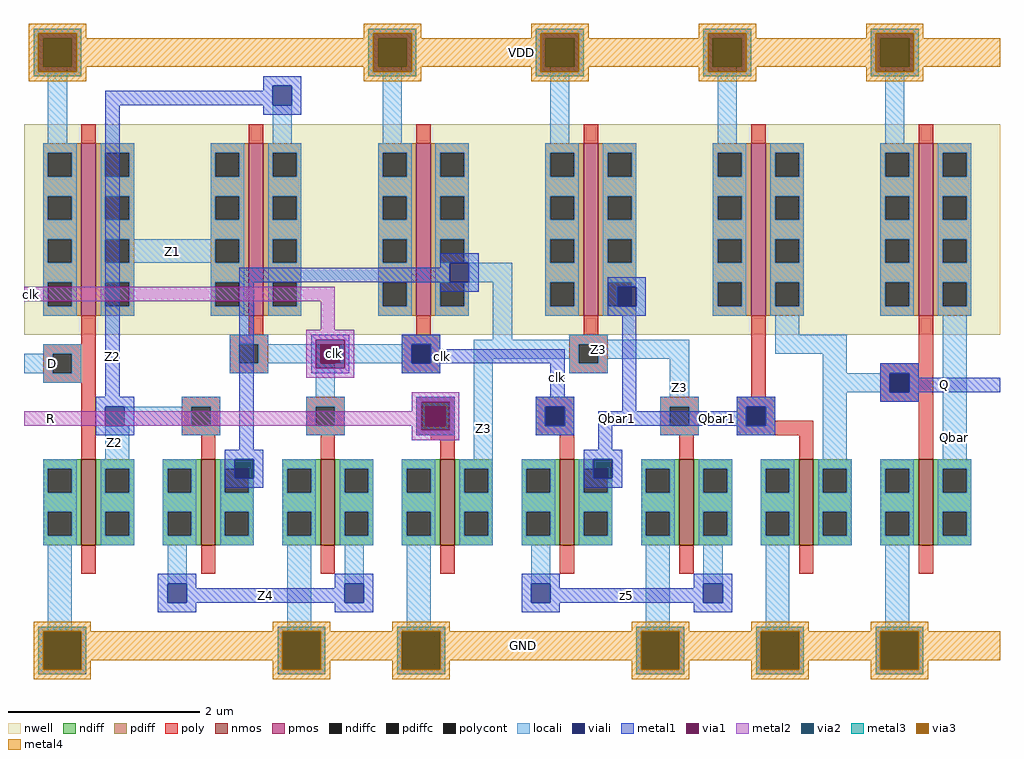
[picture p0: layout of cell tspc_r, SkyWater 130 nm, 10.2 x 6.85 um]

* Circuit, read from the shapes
.subckt tspc_r D GND Q Qbar Qbar1 R VDD Z1 Z2 Z3 Z4 clk z5
XM1 Z2 D GND VSUBS sky130_fd_pr__nfet_01v8 w=0.9 l=0.15
XM2 Z3 Z2 Z4 VSUBS sky130_fd_pr__nfet_01v8 w=0.9 l=0.15
XM3 Z4 clk GND VSUBS sky130_fd_pr__nfet_01v8 w=0.9 l=0.15
XM4 Z3 R GND VSUBS sky130_fd_pr__nfet_01v8 w=0.9 l=0.15
XM5 Qbar1 clk z5 VSUBS sky130_fd_pr__nfet_01v8 w=0.9 l=0.15
XM6 z5 Z3 GND VSUBS sky130_fd_pr__nfet_01v8 w=0.9 l=0.15
XM7 Q Qbar1 GND VSUBS sky130_fd_pr__nfet_01v8 w=0.9 l=0.15
XM8 Qbar Q GND VSUBS sky130_fd_pr__nfet_01v8 w=0.9 l=0.15
XM9 Z1 D VDD n1 sky130_fd_pr__pfet_01v8 w=1.8 l=0.15
XM10 Z2 clk Z1 n1 sky130_fd_pr__pfet_01v8 w=1.8 l=0.15
XM11 Z3 clk VDD n1 sky130_fd_pr__pfet_01v8 w=1.8 l=0.15
XM12 Qbar1 Z3 VDD n1 sky130_fd_pr__pfet_01v8 w=1.8 l=0.15
XM13 Q Qbar1 VDD n1 sky130_fd_pr__pfet_01v8 w=1.8 l=0.15
XM14 Qbar Q VDD n1 sky130_fd_pr__pfet_01v8 w=1.8 l=0.15
.ends

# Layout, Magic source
magic
tech sky130A
<< nwell >>
rect -145 -20 875 200
<< nmos >>
rect -85 -240 -70 -150
rect 40 -240 55 -150
rect 165 -240 180 -150
rect 290 -240 305 -150
rect 415 -240 430 -150
rect 540 -240 555 -150
rect 665 -240 680 -150
rect 790 -240 805 -150
<< pmos >>
rect -85 0 -70 180
rect 90 0 105 180
rect 265 0 280 180
rect 440 0 455 180
rect 615 0 630 180
rect 790 0 805 180
<< ndiff >>
rect -125 -160 -85 -150
rect -125 -185 -120 -160
rect -95 -185 -85 -160
rect -125 -205 -85 -185
rect -125 -230 -120 -205
rect -95 -230 -85 -205
rect -125 -240 -85 -230
rect -70 -160 -30 -150
rect -70 -185 -60 -160
rect -35 -185 -30 -160
rect -70 -205 -30 -185
rect -70 -230 -60 -205
rect -35 -230 -30 -205
rect -70 -240 -30 -230
rect 0 -160 40 -150
rect 0 -185 5 -160
rect 30 -185 40 -160
rect 0 -205 40 -185
rect 0 -230 5 -205
rect 30 -230 40 -205
rect 0 -240 40 -230
rect 55 -160 95 -150
rect 55 -185 65 -160
rect 90 -185 95 -160
rect 55 -205 95 -185
rect 55 -230 65 -205
rect 90 -230 95 -205
rect 55 -240 95 -230
rect 125 -160 165 -150
rect 125 -185 130 -160
rect 155 -185 165 -160
rect 125 -205 165 -185
rect 125 -230 130 -205
rect 155 -230 165 -205
rect 125 -240 165 -230
rect 180 -160 220 -150
rect 180 -185 190 -160
rect 215 -185 220 -160
rect 180 -205 220 -185
rect 180 -230 190 -205
rect 215 -230 220 -205
rect 180 -240 220 -230
rect 250 -160 290 -150
rect 250 -185 255 -160
rect 280 -185 290 -160
rect 250 -205 290 -185
rect 250 -230 255 -205
rect 280 -230 290 -205
rect 250 -240 290 -230
rect 305 -160 345 -150
rect 305 -185 315 -160
rect 340 -185 345 -160
rect 305 -205 345 -185
rect 305 -230 315 -205
rect 340 -230 345 -205
rect 305 -240 345 -230
rect 375 -160 415 -150
rect 375 -185 380 -160
rect 405 -185 415 -160
rect 375 -205 415 -185
rect 375 -230 380 -205
rect 405 -230 415 -205
rect 375 -240 415 -230
rect 430 -160 470 -150
rect 430 -185 440 -160
rect 465 -185 470 -160
rect 430 -205 470 -185
rect 430 -230 440 -205
rect 465 -230 470 -205
rect 430 -240 470 -230
rect 500 -160 540 -150
rect 500 -185 505 -160
rect 530 -185 540 -160
rect 500 -205 540 -185
rect 500 -230 505 -205
rect 530 -230 540 -205
rect 500 -240 540 -230
rect 555 -160 595 -150
rect 555 -185 565 -160
rect 590 -185 595 -160
rect 555 -205 595 -185
rect 555 -230 565 -205
rect 590 -230 595 -205
rect 555 -240 595 -230
rect 625 -160 665 -150
rect 625 -185 630 -160
rect 655 -185 665 -160
rect 625 -205 665 -185
rect 625 -230 630 -205
rect 655 -230 665 -205
rect 625 -240 665 -230
rect 680 -160 720 -150
rect 680 -185 690 -160
rect 715 -185 720 -160
rect 680 -205 720 -185
rect 680 -230 690 -205
rect 715 -230 720 -205
rect 680 -240 720 -230
rect 750 -160 790 -150
rect 750 -185 755 -160
rect 780 -185 790 -160
rect 750 -205 790 -185
rect 750 -230 755 -205
rect 780 -230 790 -205
rect 750 -240 790 -230
rect 805 -160 845 -150
rect 805 -185 815 -160
rect 840 -185 845 -160
rect 805 -205 845 -185
rect 805 -230 815 -205
rect 840 -230 845 -205
rect 805 -240 845 -230
<< pdiff >>
rect -125 170 -85 180
rect -125 145 -120 170
rect -95 145 -85 170
rect -125 125 -85 145
rect -125 100 -120 125
rect -95 100 -85 125
rect -125 80 -85 100
rect -125 55 -120 80
rect -95 55 -85 80
rect -125 35 -85 55
rect -125 10 -120 35
rect -95 10 -85 35
rect -125 0 -85 10
rect -70 170 -30 180
rect -70 145 -60 170
rect -35 145 -30 170
rect -70 125 -30 145
rect -70 100 -60 125
rect -35 100 -30 125
rect -70 80 -30 100
rect -70 55 -60 80
rect -35 55 -30 80
rect -70 35 -30 55
rect -70 10 -60 35
rect -35 10 -30 35
rect -70 0 -30 10
rect 50 170 90 180
rect 50 145 55 170
rect 80 145 90 170
rect 50 125 90 145
rect 50 100 55 125
rect 80 100 90 125
rect 50 80 90 100
rect 50 55 55 80
rect 80 55 90 80
rect 50 35 90 55
rect 50 10 55 35
rect 80 10 90 35
rect 50 0 90 10
rect 105 170 145 180
rect 105 145 115 170
rect 140 145 145 170
rect 105 125 145 145
rect 105 100 115 125
rect 140 100 145 125
rect 105 80 145 100
rect 105 55 115 80
rect 140 55 145 80
rect 105 35 145 55
rect 105 10 115 35
rect 140 10 145 35
rect 105 0 145 10
rect 225 170 265 180
rect 225 145 230 170
rect 255 145 265 170
rect 225 125 265 145
rect 225 100 230 125
rect 255 100 265 125
rect 225 80 265 100
rect 225 55 230 80
rect 255 55 265 80
rect 225 35 265 55
rect 225 10 230 35
rect 255 10 265 35
rect 225 0 265 10
rect 280 170 320 180
rect 280 145 290 170
rect 315 145 320 170
rect 280 125 320 145
rect 280 100 290 125
rect 315 100 320 125
rect 280 80 320 100
rect 280 55 290 80
rect 315 55 320 80
rect 280 35 320 55
rect 280 10 290 35
rect 315 10 320 35
rect 280 0 320 10
rect 400 170 440 180
rect 400 145 405 170
rect 430 145 440 170
rect 400 125 440 145
rect 400 100 405 125
rect 430 100 440 125
rect 400 80 440 100
rect 400 55 405 80
rect 430 55 440 80
rect 400 35 440 55
rect 400 10 405 35
rect 430 10 440 35
rect 400 0 440 10
rect 455 170 495 180
rect 455 145 465 170
rect 490 145 495 170
rect 455 125 495 145
rect 455 100 465 125
rect 490 100 495 125
rect 455 80 495 100
rect 455 55 465 80
rect 490 55 495 80
rect 455 35 495 55
rect 455 10 465 35
rect 490 10 495 35
rect 455 0 495 10
rect 575 170 615 180
rect 575 145 580 170
rect 605 145 615 170
rect 575 125 615 145
rect 575 100 580 125
rect 605 100 615 125
rect 575 80 615 100
rect 575 55 580 80
rect 605 55 615 80
rect 575 35 615 55
rect 575 10 580 35
rect 605 10 615 35
rect 575 0 615 10
rect 630 170 670 180
rect 630 145 640 170
rect 665 145 670 170
rect 630 125 670 145
rect 630 100 640 125
rect 665 100 670 125
rect 630 80 670 100
rect 630 55 640 80
rect 665 55 670 80
rect 630 35 670 55
rect 630 10 640 35
rect 665 10 670 35
rect 630 0 670 10
rect 750 170 790 180
rect 750 145 755 170
rect 780 145 790 170
rect 750 125 790 145
rect 750 100 755 125
rect 780 100 790 125
rect 750 80 790 100
rect 750 55 755 80
rect 780 55 790 80
rect 750 35 790 55
rect 750 10 755 35
rect 780 10 790 35
rect 750 0 790 10
rect 805 170 845 180
rect 805 145 815 170
rect 840 145 845 170
rect 805 125 845 145
rect 805 100 815 125
rect 840 100 845 125
rect 805 80 845 100
rect 805 55 815 80
rect 840 55 845 80
rect 805 35 845 55
rect 805 10 815 35
rect 840 10 845 35
rect 805 0 845 10
<< ndiffc >>
rect -120 -185 -95 -160
rect -120 -230 -95 -205
rect -60 -185 -35 -160
rect -60 -230 -35 -205
rect 5 -185 30 -160
rect 5 -230 30 -205
rect 65 -185 90 -160
rect 65 -230 90 -205
rect 130 -185 155 -160
rect 130 -230 155 -205
rect 190 -185 215 -160
rect 190 -230 215 -205
rect 255 -185 280 -160
rect 255 -230 280 -205
rect 315 -185 340 -160
rect 315 -230 340 -205
rect 380 -185 405 -160
rect 380 -230 405 -205
rect 440 -185 465 -160
rect 440 -230 465 -205
rect 505 -185 530 -160
rect 505 -230 530 -205
rect 565 -185 590 -160
rect 565 -230 590 -205
rect 630 -185 655 -160
rect 630 -230 655 -205
rect 690 -185 715 -160
rect 690 -230 715 -205
rect 755 -185 780 -160
rect 755 -230 780 -205
rect 815 -185 840 -160
rect 815 -230 840 -205
<< pdiffc >>
rect -120 145 -95 170
rect -120 100 -95 125
rect -120 55 -95 80
rect -120 10 -95 35
rect -60 145 -35 170
rect -60 100 -35 125
rect -60 55 -35 80
rect -60 10 -35 35
rect 55 145 80 170
rect 55 100 80 125
rect 55 55 80 80
rect 55 10 80 35
rect 115 145 140 170
rect 115 100 140 125
rect 115 55 140 80
rect 115 10 140 35
rect 230 145 255 170
rect 230 100 255 125
rect 230 55 255 80
rect 230 10 255 35
rect 290 145 315 170
rect 290 100 315 125
rect 290 55 315 80
rect 290 10 315 35
rect 405 145 430 170
rect 405 100 430 125
rect 405 55 430 80
rect 405 10 430 35
rect 465 145 490 170
rect 465 100 490 125
rect 465 55 490 80
rect 465 10 490 35
rect 580 145 605 170
rect 580 100 605 125
rect 580 55 605 80
rect 580 10 605 35
rect 640 145 665 170
rect 640 100 665 125
rect 640 55 665 80
rect 640 10 665 35
rect 755 145 780 170
rect 755 100 780 125
rect 755 55 780 80
rect 755 10 780 35
rect 815 145 840 170
rect 815 100 840 125
rect 815 55 840 80
rect 815 10 840 35
<< poly >>
rect -85 180 -70 200
rect 90 180 105 200
rect 265 180 280 200
rect 440 180 455 200
rect 615 180 630 200
rect 790 180 805 200
rect -85 -30 -70 0
rect 90 -20 105 0
rect 265 -20 280 0
rect 440 -20 455 0
rect -125 -40 -70 -30
rect -125 -60 -115 -40
rect -95 -60 -70 -40
rect 70 -30 110 -20
rect 70 -50 80 -30
rect 100 -50 110 -30
rect 70 -60 110 -50
rect 250 -30 290 -20
rect 250 -50 260 -30
rect 280 -50 290 -30
rect 250 -60 290 -50
rect 425 -30 465 -20
rect 425 -50 435 -30
rect 455 -50 465 -30
rect 425 -60 465 -50
rect -125 -70 -70 -60
rect -85 -150 -70 -70
rect 615 -85 630 0
rect 790 -50 805 0
rect 750 -60 805 -50
rect 750 -80 760 -60
rect 780 -80 805 -60
rect 20 -95 60 -85
rect 20 -115 30 -95
rect 50 -115 60 -95
rect 20 -125 60 -115
rect 150 -95 190 -85
rect 150 -115 160 -95
rect 180 -115 190 -95
rect 150 -125 190 -115
rect 265 -95 305 -85
rect 265 -115 275 -95
rect 295 -115 305 -95
rect 265 -125 305 -115
rect 390 -95 430 -85
rect 390 -115 400 -95
rect 420 -115 430 -95
rect 390 -125 430 -115
rect 520 -95 560 -85
rect 520 -115 530 -95
rect 550 -115 560 -95
rect 520 -125 560 -115
rect 600 -95 640 -85
rect 750 -90 805 -80
rect 600 -115 610 -95
rect 630 -110 640 -95
rect 630 -115 680 -110
rect 600 -125 680 -115
rect 40 -150 55 -125
rect 165 -150 180 -125
rect 280 -130 305 -125
rect 290 -150 305 -130
rect 415 -150 430 -125
rect 540 -150 555 -125
rect 665 -150 680 -125
rect 790 -150 805 -90
rect -85 -270 -70 -240
rect 40 -270 55 -240
rect 165 -270 180 -240
rect 290 -270 305 -240
rect 415 -270 430 -240
rect 540 -270 555 -240
rect 665 -270 680 -240
rect 790 -270 805 -240
<< polycont >>
rect -115 -60 -95 -40
rect 80 -50 100 -30
rect 260 -50 280 -30
rect 435 -50 455 -30
rect 760 -80 780 -60
rect 30 -115 50 -95
rect 160 -115 180 -95
rect 275 -115 295 -95
rect 400 -115 420 -95
rect 530 -115 550 -95
rect 610 -115 630 -95
<< locali >>
rect -120 180 -100 265
rect 115 180 135 220
rect 230 180 250 265
rect 405 180 425 265
rect 580 180 600 265
rect 755 180 775 265
rect -125 170 -90 180
rect -125 145 -120 170
rect -95 145 -90 170
rect -125 125 -90 145
rect -125 100 -120 125
rect -95 100 -90 125
rect -125 80 -90 100
rect -125 55 -120 80
rect -95 55 -90 80
rect -125 35 -90 55
rect -125 10 -120 35
rect -95 10 -90 35
rect -125 0 -90 10
rect -65 170 -30 180
rect -65 145 -60 170
rect -35 145 -30 170
rect -65 125 -30 145
rect -65 100 -60 125
rect -35 100 -30 125
rect -65 80 -30 100
rect 50 170 85 180
rect 50 145 55 170
rect 80 145 85 170
rect 50 125 85 145
rect 50 100 55 125
rect 80 100 85 125
rect 50 80 85 100
rect -65 55 -60 80
rect -35 55 55 80
rect 80 55 85 80
rect -65 35 -30 55
rect -65 10 -60 35
rect -35 10 -30 35
rect -65 0 -30 10
rect 50 35 85 55
rect 50 10 55 35
rect 80 10 85 35
rect 50 0 85 10
rect 110 170 145 180
rect 110 145 115 170
rect 140 145 145 170
rect 110 125 145 145
rect 110 100 115 125
rect 140 100 145 125
rect 110 80 145 100
rect 110 55 115 80
rect 140 55 145 80
rect 110 35 145 55
rect 110 10 115 35
rect 140 10 145 35
rect 110 0 145 10
rect 225 170 260 180
rect 225 145 230 170
rect 255 145 260 170
rect 225 125 260 145
rect 225 100 230 125
rect 255 100 260 125
rect 225 80 260 100
rect 225 55 230 80
rect 255 55 260 80
rect 225 35 260 55
rect 225 10 230 35
rect 255 10 260 35
rect 225 0 260 10
rect 285 170 320 180
rect 285 145 290 170
rect 315 145 320 170
rect 285 125 320 145
rect 285 100 290 125
rect 315 100 320 125
rect 285 80 320 100
rect 285 55 290 80
rect 315 55 320 80
rect 400 170 435 180
rect 400 145 405 170
rect 430 145 435 170
rect 400 125 435 145
rect 400 100 405 125
rect 430 100 435 125
rect 400 80 435 100
rect 400 55 405 80
rect 430 55 435 80
rect 285 35 300 55
rect 320 35 365 55
rect 285 10 290 35
rect 315 10 320 35
rect 285 0 320 10
rect 70 -30 110 -20
rect 250 -30 290 -20
rect 345 -25 365 35
rect 400 35 435 55
rect 400 10 405 35
rect 430 10 435 35
rect 400 0 435 10
rect 460 170 495 180
rect 460 145 465 170
rect 490 145 495 170
rect 460 125 495 145
rect 460 100 465 125
rect 490 100 495 125
rect 460 80 495 100
rect 460 55 465 80
rect 490 55 495 80
rect 460 35 495 55
rect 460 10 465 35
rect 490 30 495 35
rect 460 0 495 10
rect 575 170 610 180
rect 575 145 580 170
rect 605 145 610 170
rect 575 125 610 145
rect 575 100 580 125
rect 605 100 610 125
rect 575 80 610 100
rect 575 55 580 80
rect 605 55 610 80
rect 575 35 610 55
rect 575 10 580 35
rect 605 10 610 35
rect 575 0 610 10
rect 635 170 670 180
rect 635 145 640 170
rect 665 145 670 170
rect 635 125 670 145
rect 635 100 640 125
rect 665 100 670 125
rect 635 80 670 100
rect 635 55 640 80
rect 665 55 670 80
rect 635 35 670 55
rect 635 10 640 35
rect 665 10 670 35
rect 635 0 670 10
rect 750 170 785 180
rect 750 145 755 170
rect 780 145 785 170
rect 750 125 785 145
rect 750 100 755 125
rect 780 100 785 125
rect 750 80 785 100
rect 750 55 755 80
rect 780 55 785 80
rect 750 35 785 55
rect 750 10 755 35
rect 780 10 785 35
rect 750 0 785 10
rect 810 170 845 180
rect 810 145 815 170
rect 840 145 845 170
rect 810 125 845 145
rect 810 100 815 125
rect 840 100 845 125
rect 810 80 845 100
rect 810 55 815 80
rect 840 55 845 80
rect 810 35 845 55
rect 810 10 815 35
rect 840 10 845 35
rect 810 0 845 10
rect 640 -20 665 0
rect 425 -25 465 -20
rect -125 -40 -85 -30
rect -145 -60 -115 -40
rect -95 -60 -85 -40
rect 70 -50 80 -30
rect 100 -50 165 -30
rect 185 -50 260 -30
rect 280 -50 290 -30
rect 70 -60 110 -50
rect -125 -70 -85 -60
rect 160 -85 180 -50
rect 250 -60 290 -50
rect 325 -30 550 -25
rect 325 -45 435 -30
rect 20 -95 60 -85
rect -40 -115 30 -95
rect 50 -115 60 -95
rect -60 -150 -35 -115
rect 20 -125 60 -115
rect 150 -95 190 -85
rect 150 -115 160 -95
rect 180 -115 190 -95
rect 150 -125 190 -115
rect 265 -95 305 -85
rect 265 -115 275 -95
rect 295 -115 305 -95
rect 265 -125 305 -115
rect 325 -150 345 -45
rect 425 -50 435 -45
rect 455 -45 550 -30
rect 640 -40 715 -20
rect 455 -50 465 -45
rect 425 -60 465 -50
rect 530 -85 550 -45
rect 690 -60 715 -40
rect 750 -60 790 -50
rect 690 -80 760 -60
rect 780 -80 790 -60
rect 390 -95 430 -85
rect 390 -115 400 -95
rect 420 -115 430 -95
rect 390 -125 430 -115
rect 520 -95 560 -85
rect 520 -115 530 -95
rect 550 -115 560 -95
rect 520 -125 560 -115
rect 600 -95 640 -85
rect 600 -115 610 -95
rect 630 -115 640 -95
rect 600 -125 640 -115
rect 690 -150 715 -80
rect 750 -90 790 -80
rect 815 -150 840 0
rect -125 -160 -90 -150
rect -125 -185 -120 -160
rect -95 -185 -90 -160
rect -125 -205 -90 -185
rect -125 -230 -120 -205
rect -95 -230 -90 -205
rect -125 -240 -90 -230
rect -65 -160 -30 -150
rect -65 -185 -60 -160
rect -35 -185 -30 -160
rect -65 -205 -30 -185
rect -65 -230 -60 -205
rect -35 -230 -30 -205
rect -65 -240 -30 -230
rect 0 -160 35 -150
rect 0 -185 5 -160
rect 30 -185 35 -160
rect 0 -205 35 -185
rect 0 -230 5 -205
rect 30 -230 35 -205
rect 0 -240 35 -230
rect 60 -160 75 -150
rect 60 -185 65 -160
rect 90 -185 95 -170
rect 60 -205 95 -185
rect 60 -230 65 -205
rect 90 -230 95 -205
rect 60 -240 95 -230
rect 125 -160 160 -150
rect 125 -185 130 -160
rect 155 -185 160 -160
rect 125 -205 160 -185
rect 125 -230 130 -205
rect 155 -230 160 -205
rect 125 -240 160 -230
rect 185 -160 220 -150
rect 185 -185 190 -160
rect 215 -185 220 -160
rect 185 -205 220 -185
rect 185 -230 190 -205
rect 215 -230 220 -205
rect 185 -240 220 -230
rect 250 -160 285 -150
rect 250 -185 255 -160
rect 280 -185 285 -160
rect 250 -205 285 -185
rect 250 -230 255 -205
rect 280 -230 285 -205
rect 250 -240 285 -230
rect 310 -160 345 -150
rect 310 -185 315 -160
rect 340 -185 345 -160
rect 310 -205 345 -185
rect 310 -230 315 -205
rect 340 -230 345 -205
rect 310 -240 345 -230
rect 375 -160 410 -150
rect 375 -185 380 -160
rect 405 -185 410 -160
rect 375 -205 410 -185
rect 375 -230 380 -205
rect 405 -230 410 -205
rect 375 -240 410 -230
rect 435 -160 450 -150
rect 435 -185 440 -160
rect 465 -185 470 -170
rect 435 -205 470 -185
rect 435 -230 440 -205
rect 465 -230 470 -205
rect 435 -240 470 -230
rect 500 -160 535 -150
rect 500 -185 505 -160
rect 530 -185 535 -160
rect 500 -205 535 -185
rect 500 -230 505 -205
rect 530 -230 535 -205
rect 500 -240 535 -230
rect 560 -160 595 -150
rect 560 -185 565 -160
rect 590 -185 595 -160
rect 560 -205 595 -185
rect 560 -230 565 -205
rect 590 -230 595 -205
rect 560 -240 595 -230
rect 625 -160 660 -150
rect 625 -185 630 -160
rect 655 -185 660 -160
rect 625 -205 660 -185
rect 625 -230 630 -205
rect 655 -230 660 -205
rect 625 -240 660 -230
rect 685 -160 720 -150
rect 685 -185 690 -160
rect 715 -185 720 -160
rect 685 -205 720 -185
rect 685 -230 690 -205
rect 715 -230 720 -205
rect 685 -240 720 -230
rect 750 -160 785 -150
rect 750 -185 755 -160
rect 780 -185 785 -160
rect 750 -205 785 -185
rect 750 -230 755 -205
rect 780 -230 785 -205
rect 750 -240 785 -230
rect 810 -160 845 -150
rect 810 -185 815 -160
rect 840 -185 845 -160
rect 810 -205 845 -185
rect 810 -230 815 -205
rect 840 -230 845 -205
rect 810 -240 845 -230
rect -120 -340 -95 -240
rect 5 -280 25 -240
rect -120 -345 -115 -340
rect 130 -340 155 -240
rect 190 -280 210 -240
rect 130 -345 135 -340
rect 255 -340 280 -240
rect 385 -280 405 -240
rect 255 -345 260 -340
rect 505 -340 530 -240
rect 565 -280 585 -240
rect 505 -345 510 -340
rect 630 -340 655 -240
rect 630 -345 635 -340
rect 755 -340 780 -240
rect 755 -345 760 -340
<< viali >>
rect -120 265 -100 285
rect 230 265 250 285
rect 115 220 135 240
rect 405 265 425 285
rect 580 265 600 285
rect 755 265 775 285
rect 300 35 320 55
rect 475 10 490 30
rect 490 10 495 30
rect 165 -50 185 -30
rect 260 -50 280 -30
rect -60 -115 -40 -95
rect 275 -115 295 -95
rect 760 -80 780 -60
rect 400 -115 420 -95
rect 610 -115 630 -95
rect 75 -160 95 -150
rect 75 -170 90 -160
rect 90 -170 95 -160
rect 450 -160 470 -150
rect 450 -170 465 -160
rect 465 -170 470 -160
rect 5 -300 25 -280
rect -115 -360 -95 -340
rect 190 -300 210 -280
rect 135 -360 155 -340
rect 385 -300 405 -280
rect 260 -360 280 -340
rect 565 -300 585 -280
rect 510 -360 530 -340
rect 635 -360 655 -340
rect 760 -360 780 -340
<< metal1 >>
rect -130 290 -90 295
rect -130 260 -125 290
rect -95 260 -90 290
rect -130 255 -90 260
rect 220 290 260 295
rect 220 260 225 290
rect 255 260 260 290
rect 220 255 260 260
rect 395 290 435 295
rect 395 260 400 290
rect 430 260 435 290
rect 395 255 435 260
rect 570 290 610 295
rect 570 260 575 290
rect 605 260 610 290
rect 570 255 610 260
rect 745 290 785 295
rect 745 260 750 290
rect 780 260 785 290
rect 745 255 785 260
rect 105 240 145 250
rect 105 235 115 240
rect -60 220 115 235
rect 135 220 145 240
rect -60 -85 -45 220
rect 105 210 145 220
rect 290 55 330 65
rect 290 50 300 55
rect 80 35 300 50
rect 320 35 330 55
rect -70 -95 -30 -85
rect -70 -115 -60 -95
rect -40 -115 -30 -95
rect -70 -125 -30 -115
rect 80 -140 95 35
rect 290 25 330 35
rect 465 30 505 40
rect 465 10 475 30
rect 495 10 505 30
rect 465 0 505 10
rect 155 -25 195 -20
rect 155 -55 160 -25
rect 190 -55 195 -25
rect 155 -60 195 -55
rect 250 -30 290 -20
rect 250 -50 260 -30
rect 280 -35 290 -30
rect 280 -50 420 -35
rect 250 -60 290 -50
rect 405 -85 420 -50
rect 265 -90 305 -85
rect 265 -120 270 -90
rect 300 -120 305 -90
rect 265 -125 305 -120
rect 390 -95 430 -85
rect 390 -115 400 -95
rect 420 -115 430 -95
rect 480 -100 495 0
rect 750 -60 790 -50
rect 750 -80 760 -60
rect 780 -65 790 -60
rect 780 -80 875 -65
rect 600 -95 640 -85
rect 750 -90 790 -80
rect 600 -100 610 -95
rect 390 -125 430 -115
rect 455 -115 610 -100
rect 630 -115 640 -95
rect 455 -140 470 -115
rect 600 -125 640 -115
rect 65 -150 105 -140
rect 65 -170 75 -150
rect 95 -170 105 -150
rect 65 -180 105 -170
rect 440 -150 480 -140
rect 440 -170 450 -150
rect 470 -170 480 -150
rect 440 -180 480 -170
rect -5 -280 35 -270
rect -5 -300 5 -280
rect 25 -285 35 -280
rect 180 -280 220 -270
rect 180 -285 190 -280
rect 25 -300 190 -285
rect 210 -300 220 -280
rect -5 -310 35 -300
rect 180 -310 220 -300
rect 375 -280 415 -270
rect 375 -300 385 -280
rect 405 -285 415 -280
rect 555 -280 595 -270
rect 555 -285 565 -280
rect 405 -300 565 -285
rect 585 -300 595 -280
rect 375 -310 415 -300
rect 555 -310 595 -300
rect -125 -335 -85 -330
rect -125 -365 -120 -335
rect -90 -365 -85 -335
rect -125 -370 -85 -365
rect 125 -335 165 -330
rect 125 -365 130 -335
rect 160 -365 165 -335
rect 125 -370 165 -365
rect 250 -335 290 -330
rect 250 -365 255 -335
rect 285 -365 290 -335
rect 250 -370 290 -365
rect 500 -335 540 -330
rect 500 -365 505 -335
rect 535 -365 540 -335
rect 500 -370 540 -365
rect 625 -335 665 -330
rect 625 -365 630 -335
rect 660 -365 665 -335
rect 625 -370 665 -365
rect 750 -335 790 -330
rect 750 -365 755 -335
rect 785 -365 790 -335
rect 750 -370 790 -365
<< via1 >>
rect -125 285 -95 290
rect -125 265 -120 285
rect -120 265 -100 285
rect -100 265 -95 285
rect -125 260 -95 265
rect 225 285 255 290
rect 225 265 230 285
rect 230 265 250 285
rect 250 265 255 285
rect 225 260 255 265
rect 400 285 430 290
rect 400 265 405 285
rect 405 265 425 285
rect 425 265 430 285
rect 400 260 430 265
rect 575 285 605 290
rect 575 265 580 285
rect 580 265 600 285
rect 600 265 605 285
rect 575 260 605 265
rect 750 285 780 290
rect 750 265 755 285
rect 755 265 775 285
rect 775 265 780 285
rect 750 260 780 265
rect 160 -30 190 -25
rect 160 -50 165 -30
rect 165 -50 185 -30
rect 185 -50 190 -30
rect 160 -55 190 -50
rect 270 -95 300 -90
rect 270 -115 275 -95
rect 275 -115 295 -95
rect 295 -115 300 -95
rect 270 -120 300 -115
rect -120 -340 -90 -335
rect -120 -360 -115 -340
rect -115 -360 -95 -340
rect -95 -360 -90 -340
rect -120 -365 -90 -360
rect 130 -340 160 -335
rect 130 -360 135 -340
rect 135 -360 155 -340
rect 155 -360 160 -340
rect 130 -365 160 -360
rect 255 -340 285 -335
rect 255 -360 260 -340
rect 260 -360 280 -340
rect 280 -360 285 -340
rect 255 -365 285 -360
rect 505 -340 535 -335
rect 505 -360 510 -340
rect 510 -360 530 -340
rect 530 -360 535 -340
rect 505 -365 535 -360
rect 630 -340 660 -335
rect 630 -360 635 -340
rect 635 -360 655 -340
rect 655 -360 660 -340
rect 630 -365 660 -360
rect 755 -340 785 -335
rect 755 -360 760 -340
rect 760 -360 780 -340
rect 780 -360 785 -340
rect 755 -365 785 -360
<< metal2 >>
rect -135 290 -85 300
rect -135 260 -125 290
rect -95 260 -85 290
rect -135 250 -85 260
rect 215 290 265 300
rect 215 260 225 290
rect 255 260 265 290
rect 215 250 265 260
rect 390 290 440 300
rect 390 260 400 290
rect 430 260 440 290
rect 390 250 440 260
rect 565 290 615 300
rect 565 260 575 290
rect 605 260 615 290
rect 565 250 615 260
rect 740 290 790 300
rect 740 260 750 290
rect 780 260 790 290
rect 740 250 790 260
rect -145 15 180 30
rect 165 -15 180 15
rect 150 -25 200 -15
rect 150 -55 160 -25
rect 190 -55 200 -25
rect 150 -65 200 -55
rect 260 -90 310 -80
rect 260 -100 270 -90
rect -145 -115 270 -100
rect 260 -120 270 -115
rect 300 -120 310 -90
rect 260 -130 310 -120
rect -130 -330 -80 -325
rect -130 -370 -125 -330
rect -85 -370 -80 -330
rect -130 -375 -80 -370
rect 120 -330 170 -325
rect 120 -370 125 -330
rect 165 -370 170 -330
rect 120 -375 170 -370
rect 245 -330 295 -325
rect 245 -370 250 -330
rect 290 -370 295 -330
rect 245 -375 295 -370
rect 495 -330 545 -325
rect 495 -370 500 -330
rect 540 -370 545 -330
rect 495 -375 545 -370
rect 620 -330 670 -325
rect 620 -370 625 -330
rect 665 -370 670 -330
rect 620 -375 670 -370
rect 745 -330 795 -325
rect 745 -370 750 -330
rect 790 -370 795 -330
rect 745 -375 795 -370
<< via2 >>
rect -125 260 -95 290
rect 225 260 255 290
rect 400 260 430 290
rect 575 260 605 290
rect 750 260 780 290
rect -125 -335 -85 -330
rect -125 -365 -120 -335
rect -120 -365 -90 -335
rect -90 -365 -85 -335
rect -125 -370 -85 -365
rect 125 -335 165 -330
rect 125 -365 130 -335
rect 130 -365 160 -335
rect 160 -365 165 -335
rect 125 -370 165 -365
rect 250 -335 290 -330
rect 250 -365 255 -335
rect 255 -365 285 -335
rect 285 -365 290 -335
rect 250 -370 290 -365
rect 500 -335 540 -330
rect 500 -365 505 -335
rect 505 -365 535 -335
rect 535 -365 540 -335
rect 500 -370 540 -365
rect 625 -335 665 -330
rect 625 -365 630 -335
rect 630 -365 660 -335
rect 660 -365 665 -335
rect 625 -370 665 -365
rect 750 -335 790 -330
rect 750 -365 755 -335
rect 755 -365 785 -335
rect 785 -365 790 -335
rect 750 -370 790 -365
<< metal3 >>
rect -135 295 -85 300
rect -135 255 -130 295
rect -90 255 -85 295
rect -135 250 -85 255
rect 215 295 265 300
rect 215 255 220 295
rect 260 255 265 295
rect 215 250 265 255
rect 390 295 440 300
rect 390 255 395 295
rect 435 255 440 295
rect 390 250 440 255
rect 565 295 615 300
rect 565 255 570 295
rect 610 255 615 295
rect 565 250 615 255
rect 740 295 790 300
rect 740 255 745 295
rect 785 255 790 295
rect 740 250 790 255
rect -130 -330 -80 -325
rect -130 -370 -125 -330
rect -85 -370 -80 -330
rect -130 -375 -80 -370
rect 120 -330 170 -325
rect 120 -370 125 -330
rect 165 -370 170 -330
rect 120 -375 170 -370
rect 245 -330 295 -325
rect 245 -370 250 -330
rect 290 -370 295 -330
rect 245 -375 295 -370
rect 495 -330 545 -325
rect 495 -370 500 -330
rect 540 -370 545 -330
rect 495 -375 545 -370
rect 620 -330 670 -325
rect 620 -370 625 -330
rect 665 -370 670 -330
rect 620 -375 670 -370
rect 745 -330 795 -325
rect 745 -370 750 -330
rect 790 -370 795 -330
rect 745 -375 795 -370
<< via3 >>
rect -130 290 -90 295
rect -130 260 -125 290
rect -125 260 -95 290
rect -95 260 -90 290
rect -130 255 -90 260
rect 220 290 260 295
rect 220 260 225 290
rect 225 260 255 290
rect 255 260 260 290
rect 220 255 260 260
rect 395 290 435 295
rect 395 260 400 290
rect 400 260 430 290
rect 430 260 435 290
rect 395 255 435 260
rect 570 290 610 295
rect 570 260 575 290
rect 575 260 605 290
rect 605 260 610 290
rect 570 255 610 260
rect 745 290 785 295
rect 745 260 750 290
rect 750 260 780 290
rect 780 260 785 290
rect 745 255 785 260
rect -125 -370 -85 -330
rect 125 -370 165 -330
rect 250 -370 290 -330
rect 500 -370 540 -330
rect 625 -370 665 -330
rect 750 -370 790 -330
<< metal4 >>
rect -140 295 -80 305
rect -140 255 -130 295
rect -90 290 -80 295
rect 210 295 270 305
rect 210 290 220 295
rect -90 260 220 290
rect -90 255 -80 260
rect -140 245 -80 255
rect 210 255 220 260
rect 260 290 270 295
rect 385 295 445 305
rect 385 290 395 295
rect 260 260 395 290
rect 260 255 270 260
rect 210 245 270 255
rect 385 255 395 260
rect 435 290 445 295
rect 560 295 620 305
rect 560 290 570 295
rect 435 260 570 290
rect 435 255 445 260
rect 385 245 445 255
rect 560 255 570 260
rect 610 290 620 295
rect 735 295 795 305
rect 735 290 745 295
rect 610 260 745 290
rect 610 255 620 260
rect 560 245 620 255
rect 735 255 745 260
rect 785 290 795 295
rect 785 260 875 290
rect 785 255 795 260
rect 735 245 795 255
rect -135 -330 -75 -320
rect 115 -330 175 -320
rect 240 -330 300 -320
rect 490 -330 550 -320
rect 615 -330 675 -320
rect 740 -330 800 -320
rect -135 -370 -125 -330
rect -85 -360 125 -330
rect -85 -370 -75 -360
rect -135 -380 -75 -370
rect 115 -370 125 -360
rect 165 -360 250 -330
rect 165 -370 175 -360
rect 115 -380 175 -370
rect 240 -370 250 -360
rect 290 -360 500 -330
rect 290 -370 300 -360
rect 240 -380 300 -370
rect 490 -370 500 -360
rect 540 -360 625 -330
rect 540 -370 550 -360
rect 490 -380 550 -370
rect 615 -370 625 -360
rect 665 -360 750 -330
rect 665 -370 675 -360
rect 615 -380 675 -370
rect 740 -370 750 -360
rect 790 -360 875 -330
rect 790 -370 800 -360
rect 740 -380 800 -370
<< labels >>
rlabel metal4 -125 260 875 290 1 VDD
rlabel locali 815 -150 840 -105 1 Qbar
rlabel metal1 760 -80 875 -65 1 Q
rlabel metal1 385 -300 585 -285 1 z5
rlabel metal1 455 -115 495 -100 1 Qbar1
rlabel metal1 560 -115 600 -100 1 Qbar1
rlabel metal1 405 -85 420 -45 1 clk
rlabel metal1 260 -50 325 -35 1 clk
rlabel metal2 -145 15 -130 30 1 clk
rlabel locali 110 -50 250 -30 1 clk
rlabel locali -145 -60 -85 -40 1 D
rlabel metal2 -145 -115 -90 -100 1 R
rlabel locali -60 -150 -40 -115 1 Z2
rlabel metal1 -60 -85 -45 0 1 Z2
rlabel locali -30 55 50 80 1 Z1
rlabel metal1 5 -300 210 -285 1 Z4
rlabel locali 325 -150 345 -85 1 Z3
rlabel locali 530 -125 550 -25 1 Z3
rlabel locali 435 -45 475 -25 1 Z3
rlabel metal4 -120 -360 875 -330 1 GND
<< end >>
